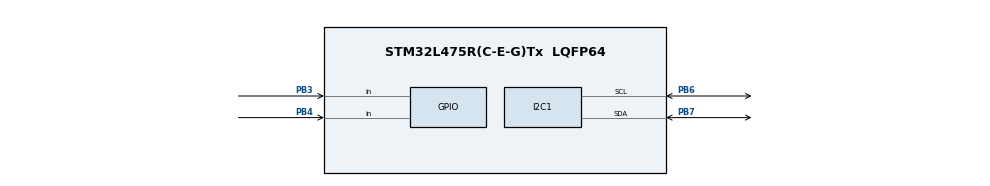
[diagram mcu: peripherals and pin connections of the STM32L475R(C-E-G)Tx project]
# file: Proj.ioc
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I2C1.NoStretchMode=I2C_NOSTRETCH_DISABLE
I2C1.OwnAddress=1
I2C1.Speed=2
I2C1.Timing=0x3000F5FC
Mcu.Family=STM32L4
Mcu.Name=STM32L475R(C-E-G)Tx
Mcu.Package=LQFP64
NVIC.I2C1_ER_IRQn=true\:0\:0\:false\:false\:true\:true\:true
NVIC.I2C1_EV_IRQn=true\:0\:0\:false\:false\:true\:true\:true
NVIC.PriorityGroup=NVIC_PRIORITYGROUP_4
PB3\ (JTDO-TRACESWO).Signal=GPIO_Input
PB4\ (NJTRST).Signal=GPIO_Input
PB6.Mode=I2C
PB6.Signal=I2C1_SCL
PB7.Mode=I2C
PB7.Signal=I2C1_SDA
ProjectManager.HeapSize=0x200
ProjectManager.StackSize=0x400
ProjectManager.TargetToolchain=TrueSTUDIO
RCC.HSE_VALUE=8000000
RCC.HSI_VALUE=16000000
RCC.LSE_VALUE=32768
RCC.MSI_VALUE=4000000
RCC.VCOOutputFreq_Value=32000000
board=custom

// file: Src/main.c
/* USER CODE BEGIN Header */
/**
  ******************************************************************************
  * @file           : main.c
  * @brief          : Main program body
  ******************************************************************************
  * @attention
  *
  * <h2><center>&copy; Copyright (c) 2020 STMicroelectronics.
  * All rights reserved.</center></h2>
  *
  * This software component is licensed by ST under BSD 3-Clause license,
  * the "License"; You may not use this file except in compliance with the
  * License. You may obtain a copy of the License at:
  *                        opensource.org/licenses/BSD-3-Clause
  *
  ******************************************************************************
  */
/* USER CODE END Header */

#include "main.h"
#include "MyDefine.h"

/* USER CODE BEGIN Includes */
#include "I2CDrvCmm.h"
/* USER CODE END Includes */

I2C_HandleTypeDef hi2c1;

/* USER CODE BEGIN PV */
uint32_t _sysCounter100MSec;//до переполнения пройдет 13 лет ). использовать там где не нужна точность, плюс минус пол локтя..
uint32_t GetSysCounter100MSec(void){return _sysCounter100MSec;}
uint64_t _sysCounter1MSec;
uint64_t GetSysCounter1MSec(void){return _sysCounter1MSec;}
/* USER CODE END PV */

void SystemClock_Config(void);
static void MX_GPIO_Init(void);
static void MX_I2C1_Init(void);

int main(void)
{

  /* MCU Configuration--------------------------------------------------------*/

  /* Reset of all peripherals, Initializes the Flash interface and the Systick. */
  HAL_Init();

  /* Configure the system clock */
  SystemClock_Config();

  /* Initialize all configured peripherals */
  MX_GPIO_Init();
  MX_I2C1_Init();
  /* USER CODE BEGIN 2 */
  I2CInit();
  /* USER CODE END 2 */

  /* Infinite loop */
  /* USER CODE BEGIN WHILE */
  while (1)
  {
	  I2CReceive(&hi2c1, 0);
	  I2CSend(&hi2c1, 0);

#ifdef	GIVE_OUT_ADR_V2
	  PrepData();
#endif
#ifdef	GIVE_OUT_ADR_V1
	  PrepDataGetAdrV1Simple();
#endif

	  HAL_SYSTICK_Callback();//временно
    /* USER CODE END WHILE */

  }
}

void SystemClock_Config(void)
{
  RCC_OscInitTypeDef RCC_OscInitStruct = {0};
  RCC_ClkInitTypeDef RCC_ClkInitStruct = {0};
  RCC_PeriphCLKInitTypeDef PeriphClkInit = {0};

  /** Initializes the CPU, AHB and APB busses clocks
  */
  RCC_OscInitStruct.OscillatorType = RCC_OSCILLATORTYPE_MSI;
  RCC_OscInitStruct.MSIState = RCC_MSI_ON;
  RCC_OscInitStruct.MSICalibrationValue = 0;
  RCC_OscInitStruct.MSIClockRange = RCC_MSIRANGE_6;
  RCC_OscInitStruct.PLL.PLLState = RCC_PLL_NONE;
  if (HAL_RCC_OscConfig(&RCC_OscInitStruct) != HAL_OK)
  {
    Error_Handler();
  }
  /** Initializes the CPU, AHB and APB busses clocks
  */
  RCC_ClkInitStruct.ClockType = RCC_CLOCKTYPE_HCLK|RCC_CLOCKTYPE_SYSCLK
                              |RCC_CLOCKTYPE_PCLK1|RCC_CLOCKTYPE_PCLK2;
  RCC_ClkInitStruct.SYSCLKSource = RCC_SYSCLKSOURCE_MSI;
  RCC_ClkInitStruct.AHBCLKDivider = RCC_SYSCLK_DIV1;
  RCC_ClkInitStruct.APB1CLKDivider = RCC_HCLK_DIV1;
  RCC_ClkInitStruct.APB2CLKDivider = RCC_HCLK_DIV1;

  if (HAL_RCC_ClockConfig(&RCC_ClkInitStruct, FLASH_LATENCY_0) != HAL_OK)
  {
    Error_Handler();
  }
  PeriphClkInit.PeriphClockSelection = RCC_PERIPHCLK_I2C1;
  PeriphClkInit.I2c1ClockSelection = RCC_I2C1CLKSOURCE_PCLK1;
  if (HAL_RCCEx_PeriphCLKConfig(&PeriphClkInit) != HAL_OK)
  {
    Error_Handler();
  }
  /** Configure the main internal regulator output voltage
  */
  if (HAL_PWREx_ControlVoltageScaling(PWR_REGULATOR_VOLTAGE_SCALE1) != HAL_OK)
  {
    Error_Handler();
  }
}

static void MX_I2C1_Init(void)
{

  hi2c1.Instance = I2C1;
  hi2c1.Init.Timing = 0x3000F5FC;
  hi2c1.Init.OwnAddress1 = 2;
  hi2c1.Init.AddressingMode = I2C_ADDRESSINGMODE_7BIT;
  hi2c1.Init.DualAddressMode = I2C_DUALADDRESS_DISABLE;
  hi2c1.Init.OwnAddress2 = 0;
  hi2c1.Init.OwnAddress2Masks = I2C_OA2_NOMASK;
  hi2c1.Init.GeneralCallMode = I2C_GENERALCALL_DISABLE;
  hi2c1.Init.NoStretchMode = I2C_NOSTRETCH_DISABLE;
  if (HAL_I2C_Init(&hi2c1) != HAL_OK)
  {
    Error_Handler();
  }
  /** Configure Analogue filter
  */
  if (HAL_I2CEx_ConfigAnalogFilter(&hi2c1, I2C_ANALOGFILTER_ENABLE) != HAL_OK)
  {
    Error_Handler();
  }
  /** Configure Digital filter
  */
  if (HAL_I2CEx_ConfigDigitalFilter(&hi2c1, 0) != HAL_OK)
  {
    Error_Handler();
  }

}

static void MX_GPIO_Init(void)
{
  GPIO_InitTypeDef GPIO_InitStruct = {0};

  /* GPIO Ports Clock Enable */
  __HAL_RCC_GPIOB_CLK_ENABLE();

  /*Configure GPIO pins : PB3 PB4 */
  GPIO_InitStruct.Pin = GPIO_PIN_3|GPIO_PIN_4;
  GPIO_InitStruct.Mode = GPIO_MODE_INPUT;
  GPIO_InitStruct.Pull = GPIO_NOPULL;
  HAL_GPIO_Init(GPIOB, &GPIO_InitStruct);

}

/* USER CODE BEGIN 4 */
void HAL_SYSTICK_Callback(void)
{
	static uint8_t sysTicksCnt4Get100MSec = 0;
	if((sysTicksCnt4Get100MSec++) >= 100)
	{
		sysTicksCnt4Get100MSec = 0;
		_sysCounter100MSec++;
	}
	_sysCounter1MSec++;
}

/* USER CODE END 4 */

void Error_Handler(void)
{
}

/************************ (C) COPYRIGHT STMicroelectronics *****END OF FILE****/
